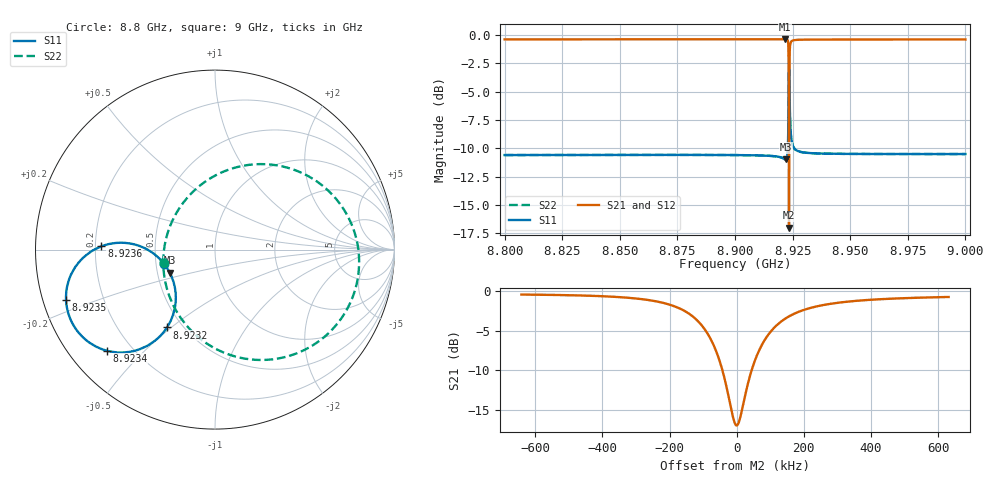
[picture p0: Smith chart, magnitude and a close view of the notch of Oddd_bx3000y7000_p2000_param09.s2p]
! Sonnet Data File
! From: emgraph Version : 16.52
! From Project: Resonator2
! Data is De-embedded
! Data File Written: 10/05/2017 10:46:05
!< HDATE 10/04/2017 20:26:48
!< MDATE 10/05/2017 00:36:07
!< PARAMS
!< gap = 76.0
!< Length = 400.0
!< Pwid1 = 2000.0
!< Pwid2 = 2000.0
!< END PARAMS
# GHZ S MA R 50.00000
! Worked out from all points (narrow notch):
!   1595 points, 8.8 GHz to 9 GHz, reference 50 ohm
!   highest |S21| = -0.37 dB at 8.9218 GHz (marker M1); lowest = -17.0 dB at 8.9234 GHz (marker M2)
!   notch at M2: 16.6 dB deep, 107 kHz wide at half that depth
!   lowest |S11| = -11.0 dB at 8.9221 GHz (marker M3), VSWR 1.79, Z = 29.1 - j8.14 ohm
!   |S11| at or under -10 dB: start of sweep to 8.9229 GHz; 8.9257 GHz to end of sweep
!   |S22| runs from -11.1 to -1.8 dB; largest |S21 - S12| = 0
!   S11 on the Smith chart (normalised r, x): 8.8 GHz: 0.55, -0.10; 8.9232 GHz: 0.41, -0.48; 8.9234 GHz: 0.11, -0.39; 8.9235 GHz: 0.07, -0.16; 8.9236 GHz: 0.22, +0.01; 9 GHz: 0.55, -0.08
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8.8  0.2952 -164.5  0.9554 -74.9  0.9554 -74.9  0.2952 -165.4
!< P1 F=8.8 Eeff=(5.36817953 -2.3731e-5) Z0=(35.9853883 8.0522e-5) R=0.0 C=0.0
!< P2 F=8.8 Eeff=(5.36817953 -2.3731e-5) Z0=(35.9853883 8.0522e-5) R=0.0 C=0.0
8.8334  0.2955 -164.7  0.9554 -75.2  0.9554 -75.2  0.2955 -165.8
8.8668  0.2956 -164.9  0.9553 -75.6  0.9553 -75.6  0.2956 -166.3
8.9  0.2952 -164.7  0.9554 -76.0  0.9554 -76.0  0.2952 -167.2
8.91737  0.2915 -163.0  0.9565 -77.0  0.9565 -77.0  0.2914 -170.9
8.9218  0.2834 -155.7  0.9583 -80.0  0.9583 -80.0  0.2816 175.6
8.922142  0.2828 -152.9  0.9581 -81.1  0.9581 -81.1  0.2799 170.7
8.922974  0.3245 -132.6  0.9377 -90.3  0.9377 -90.3  0.3053 130.1
8.923133  0.3945 -124.6  0.901 -97.1  0.901 -97.1  0.3608 105.1
8.92324  0.5101 -121.7  0.8226 -106.2  0.8226 -106.2  0.459 78.7
8.923325  0.6808 -126.3  0.6486 -118.8  0.6486 -118.8  0.6105 48.3
8.923385  0.8254 -137.0  0.3927 -128.0  0.3927 -128.0  0.7432 19.7
8.923441  0.8943 -152.2  0.1412 -79.7  0.1412 -79.7  0.8115 -11.5
8.923475  0.8766 -161.2  0.2603 -35.3  0.2603 -35.3  0.8 -29.4
8.92353  0.7878 -172.6  0.5107 -34.9  0.5107 -34.9  0.7263 -54.1
8.923622  0.6334 178.3  0.7326 -46.6  0.7326 -46.6  0.5938 -81.7
8.92376  0.4977 175.7  0.8516 -56.9  0.8516 -56.9  0.4758 -105.2
8.924  0.403 178.1  0.9097 -64.4  0.9097 -64.4  0.393 -125.3
8.925222  0.3226 -172.9  0.946 -72.2  0.946 -72.2  0.3213 -151.3
8.9334  0.3008 -167.1  0.9537 -75.3  0.9537 -75.3  0.3008 -163.5
8.9668  0.2982 -166.3  0.9545 -76.1  0.9545 -76.1  0.2982 -165.9
9  0.2982 -166.4  0.9545 -76.4  0.9545 -76.4  0.2982 -166.5
